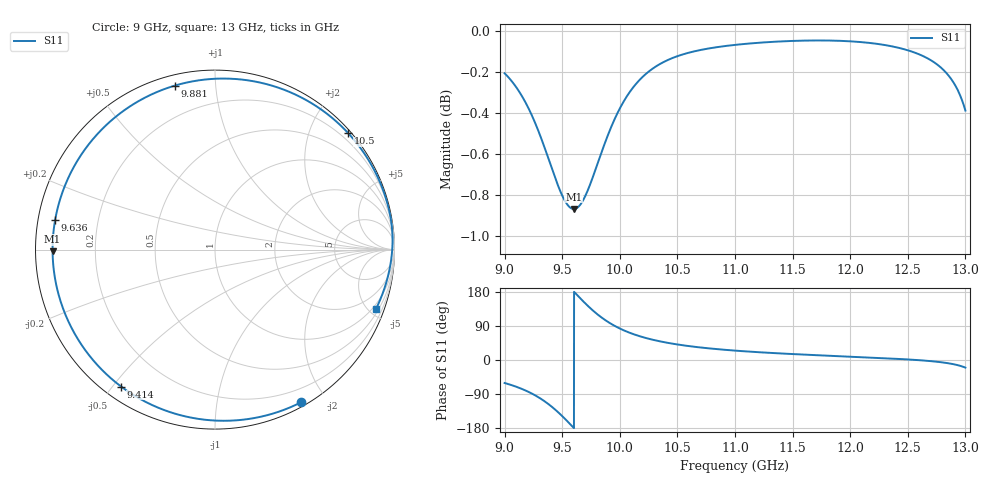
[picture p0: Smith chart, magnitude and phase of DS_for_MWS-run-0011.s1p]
! TOUCHSTONE file generated by CST DESIGN STUDIO
! Date and time: Tue Feb  4 16:46:12 2025
! Project name: C:\Work\MatlabApps\UnitCellOptimizationMatlab\CST\unitcell.cst
! Tree item: Tasks\Sweep1\SPara1\S-Parameters
! Header version: 2024
! Port assignment regex: !\s*Touchstone port\s*([0-9]+)\s*=\s*(CST MWS port|CST DES external port|CST DES block port)\s*(.+)\s* \(\"(.*)\"\)(\s*mode\s*([0-9]+))?.*
! Touchstone port assignment:
! Touchstone port 1 = CST DES external port 1 ("")
# GHz S MA R 50
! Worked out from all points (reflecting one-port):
!   4001 points, 9 GHz to 13 GHz, reference 50 ohm
!   lowest |S11| = -0.9 dB at 9.601 GHz (marker M1), VSWR 20.06, Z = 2.49 - j0.232 ohm
!   phase of S11 starts at -61 deg and turns -319 deg over the sweep
!   S11 on the Smith chart (normalised r, x): 9 GHz: 0.05, -1.71; 9.414 GHz: 0.05, -0.53; 9.636 GHz: 0.05, +0.09; 9.881 GHz: 0.05, +0.78; 10.5 GHz: 0.06, +2.67; 13 GHz: 0.72, -5.55
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9  0.9765 -60.7
9.129  0.9662 -73.8
9.255  0.9511 -91.5
9.34  0.9379 -107.4
9.414  0.9251 -124.4
9.457  0.918 -135.7
9.5  0.9119 -148.0
9.552  0.9067 -163.9
9.601  0.905 -179.5
9.636  0.9059 169.3
9.693  0.9108 151.6
9.76  0.9204 132.3
9.819  0.9304 117.4
9.881  0.9407 103.7
10  0.9574 83.1
10.103  0.9677 69.9
10.216  0.9755 58.9
10.346  0.9814 49.4
10.498  0.9858 41.1
10.5  0.9858 41.0
10.719  0.9895 32.4
11  0.9921 24.8
11.5  0.9943 15.7
12  0.9941 8.8
12.5  0.9891 1.5
12.811  0.9782 -6.7
12.909  0.9702 -11.8
13  0.9563 -20.1
